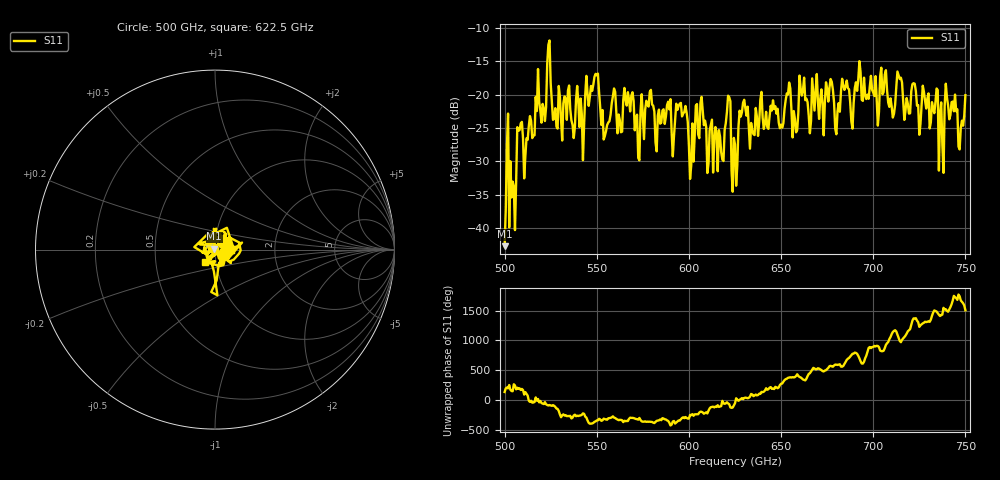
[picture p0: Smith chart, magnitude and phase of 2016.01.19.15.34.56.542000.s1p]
!Created with skrf (http://scikit-rf.org).
# GHz S RI R 50.0
!freq ReS11 ImS11
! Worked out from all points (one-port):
!   401 points, 500 GHz to 750 GHz, reference 50 ohm
!   lowest |S11| = -42.8 dB at 500 GHz (marker M1), VSWR 1.01, Z = 49.5 + j0.531 ohm
!   |S11| at or under -10 dB: start of sweep to end of sweep
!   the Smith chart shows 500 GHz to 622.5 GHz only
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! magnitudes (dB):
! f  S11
! 500 GHz  -42.8
! 501.9 GHz  -22.8
! 505 GHz  -33.8
! 508.1 GHz  -25.3
! 521.2 GHz  -22.1
! 523.8 GHz  -12.5
! 527.5 GHz  -22.0
! 531.2 GHz  -26.9
! 541.9 GHz  -22.9
! 549.4 GHz  -16.9
! 553.8 GHz  -26.7
! 562.5 GHz  -23.8
! 593.8 GHz  -22.3
! 601.2 GHz  -30.6
! 607.5 GHz  -22.4
! 618.1 GHz  -29.7
! 621.2 GHz  -20.2
! 625 GHz  -27.5
! 628.8 GHz  -22.7
! 656.2 GHz  -26.4
! 687.5 GHz  -21.2
! 714.4 GHz  -17.7
! 718.8 GHz  -21.4
! 733.8 GHz  -21.1
! 736.9 GHz  -21.2
! 740 GHz  -20.4
! 747.5 GHz  -25.0
! 750 GHz  -20.1
